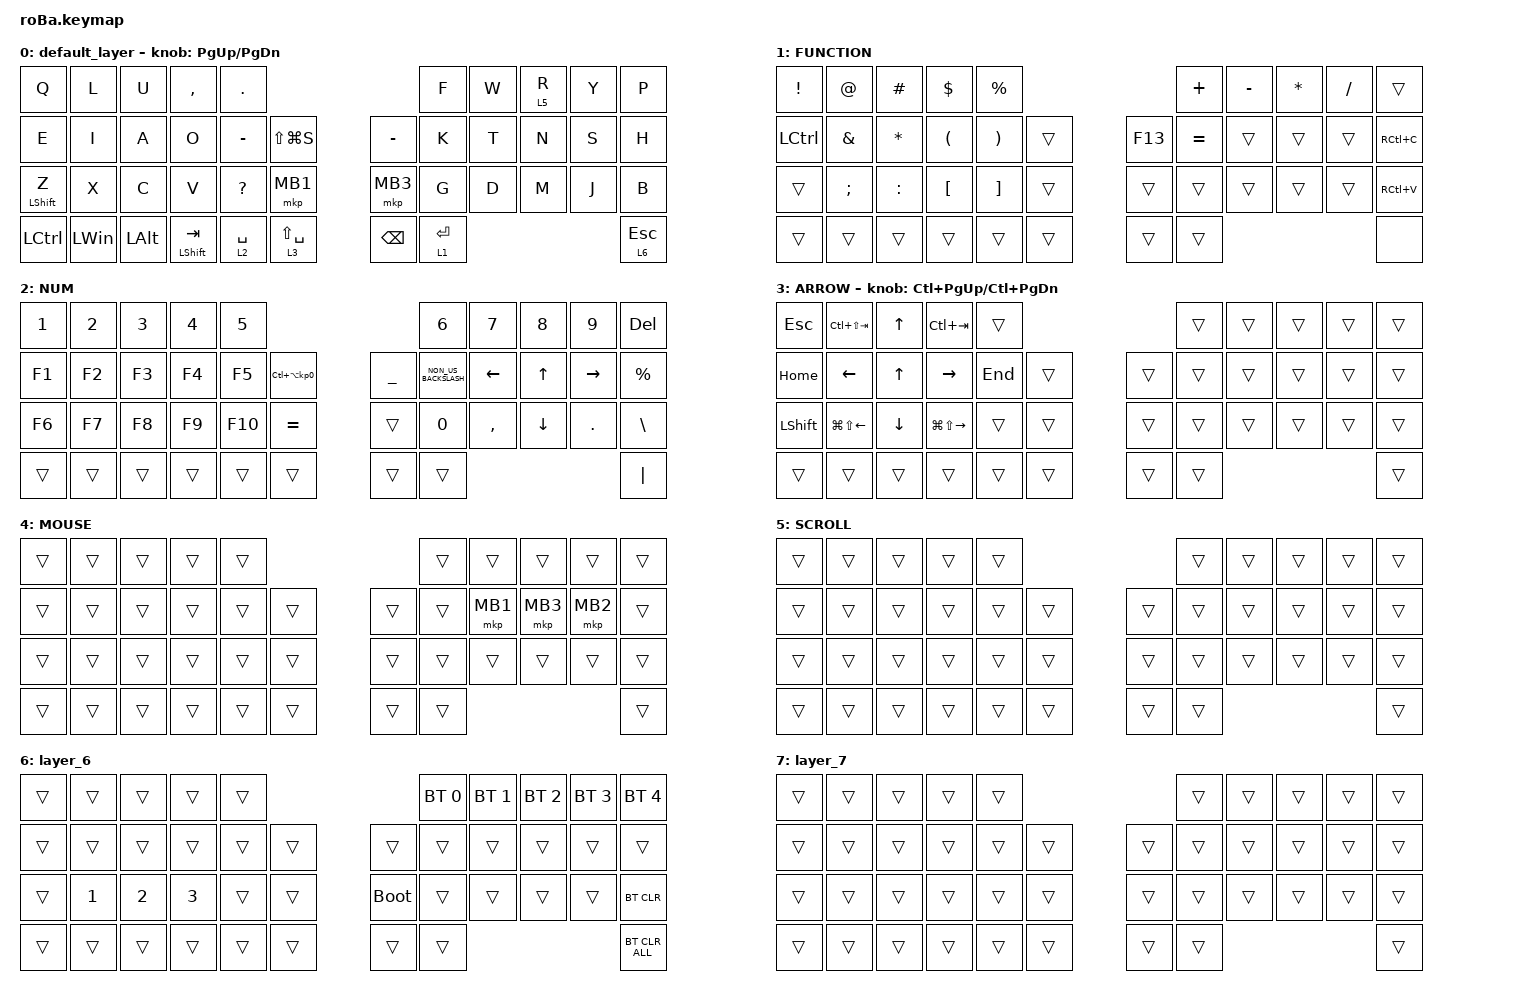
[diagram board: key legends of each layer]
#include <behaviors.dtsi>
#include <dt-bindings/zmk/bt.h>
#include <dt-bindings/zmk/keys.h>
#include <dt-bindings/zmk/pointing.h>

&mt {
    flavor = "balanced";
    quick-tap-ms = <0>;
};

&trackball {
    automouse-layer = <4>;
    scroll-layers = <5>;

    // arrows {
    //     layers = <3>;
    //     bindings =
    //         <&kp RIGHT_ARROW>,
    //         <&kp LEFT_ARROW>,
    //         <&kp UP_ARROW>,
    //         <&kp DOWN_ARROW>;
    //     tick = <10>;
    //     wait-ms = <5>;
    //     tap-ms = <5>;
    // };
};

/ {
    combos {
        compatible = "zmk,combos";

        tab {
            bindings = <&kp TAB>;
            key-positions = <11 12>;
        };

        shift_tab {
            bindings = <&kp LS(TAB)>;
            key-positions = <12 13>;
        };

        muhennkann {
            bindings = <&to_layer_0 INT_MUHENKAN>;
            key-positions = <11 10>;
        };

        double_quotation {
            bindings = <&kp DOUBLE_QUOTES>;
            key-positions = <20 21>;
        };

        eq {
            bindings = <&kp EQUAL>;
            key-positions = <24 25>;
        };
    };

    macros {
        to_layer_0: to_layer_0 {
            compatible = "zmk,behavior-macro-one-param";
            #binding-cells = <1>;
            bindings = <&to 0 &macro_param_1to1 &kp MACRO_PLACEHOLDER>;
            label = "TO_LAYER_0";
        };
    };

    behaviors {
        lt_to_layer_0: lt_to_layer_0 {
            compatible = "zmk,behavior-hold-tap";
            label = "LAYER_TAP_TO_0";
            bindings = <&mo>, <&to_layer_0>;

            #binding-cells = <2>;
            tapping-term-ms = <200>;
        };
    };

    keymap {
        compatible = "zmk,keymap";

        default_layer {
            bindings = <
&kp Q             &kp L         &kp U         &kp COMMA           &kp PERIOD                                                  &kp F        &kp W  &lt 5 R  &kp Y  &kp P
&kp E             &kp I         &kp A         &kp O               &kp MINUS    &kp LS(LG(S))                   &kp MINUS      &kp K        &kp T  &kp N    &kp S  &kp H
&mt LEFT_SHIFT Z  &kp X         &kp C         &kp V               &kp QMARK    &mkp MB1                        &mkp MB3       &kp G        &kp D  &kp M    &kp J  &kp B
&kp LCTRL         &kp LEFT_WIN  &kp LEFT_ALT  &mt LEFT_SHIFT TAB  &lt 2 SPACE  &lt_to_layer_0 3 LS(SPACE)      &kp BACKSPACE  &lt 1 ENTER                         &lt_to_layer_0 6 ESCAPE
            >;

            sensor-bindings = <&inc_dec_kp PG_UP PAGE_DOWN>;
        };

        FUNCTION {
            bindings = <
&kp EXCLAMATION  &kp AT_SIGN    &kp HASH      &kp DOLLAR            &kp PERCENT                                 &kp PLUS   &kp MINUS  &kp ASTERISK  &kp SLASH  &trans
&kp LCTRL        &kp AMPERSAND  &kp ASTERISK  &kp LEFT_PARENTHESIS  &kp RIGHT_PARENTHESIS  &trans      &kp F13  &kp EQUAL  &trans     &trans        &trans     &kp RC(C)
&trans           &kp SEMICOLON  &kp COLON     &kp LEFT_BRACKET      &kp RIGHT_BRACKET      &trans      &trans   &trans     &trans     &trans        &trans     &kp RC(V)
&trans           &trans         &trans        &trans                &trans                 &trans      &trans   &trans                                         &none
            >;
        };

        NUM {
            bindings = <
&kp NUMBER_1  &kp N2  &kp NUMBER_3  &kp NUMBER_4  &kp NUMBER_5                                               &kp NUMBER_6          &kp NUMBER_7    &kp NUMBER_8    &kp NUMBER_9     &kp DEL
&kp F1        &kp F2  &kp F3        &kp F4        &kp F5        &kp LC(LA(KP_NUMBER_0))      &kp UNDERSCORE  &kp NON_US_BACKSLASH  &kp LEFT_ARROW  &kp UP_ARROW    &kp RIGHT_ARROW  &kp PERCENT
&kp F6        &kp F7  &kp F8        &kp F9        &kp F10       &kp EQUAL                    &trans          &kp NUMBER_0          &kp COMMA       &kp DOWN_ARROW  &kp PERIOD       &kp BACKSLASH
&trans        &trans  &trans        &trans        &trans        &trans                       &trans          &trans                                                                 &kp PIPE
            >;
        };

        ARROW {
            bindings = <
&kp ESCAPE      &kp LC(LS(TAB))         &kp UP_ARROW    &kp LC(TAB)              &trans                       &trans  &trans  &trans  &trans  &trans
&kp HOME        &kp LEFT_ARROW          &kp UP_ARROW    &kp RIGHT_ARROW          &kp END  &trans      &trans  &trans  &trans  &trans  &trans  &trans
&kp LEFT_SHIFT  &kp LG(LS(LEFT_ARROW))  &kp DOWN_ARROW  &kp LG(LS(RIGHT_ARROW))  &trans   &trans      &trans  &trans  &trans  &trans  &trans  &trans
&trans          &trans                  &trans          &trans                   &trans   &trans      &trans  &trans                          &trans
            >;

            sensor-bindings = <&inc_dec_kp LC(PAGE_UP) LC(PAGE_DOWN)>;
        };

        MOUSE {
            bindings = <
&trans  &trans  &trans  &trans  &trans                      &trans  &trans    &trans    &trans    &trans
&trans  &trans  &trans  &trans  &trans  &trans      &trans  &trans  &mkp MB1  &mkp MB3  &mkp MB2  &trans
&trans  &trans  &trans  &trans  &trans  &trans      &trans  &trans  &trans    &trans    &trans    &trans
&trans  &trans  &trans  &trans  &trans  &trans      &trans  &trans                                &trans
            >;
        };

        SCROLL {
            bindings = <
&trans  &trans  &trans  &trans  &trans                      &trans  &trans  &trans  &trans  &trans
&trans  &trans  &trans  &trans  &trans  &trans      &trans  &trans  &trans  &trans  &trans  &trans
&trans  &trans  &trans  &trans  &trans  &trans      &trans  &trans  &trans  &trans  &trans  &trans
&trans  &trans  &trans  &trans  &trans  &trans      &trans  &trans                          &trans
            >;
        };

        layer_6 {
            bindings = <
&trans  &trans        &trans        &trans        &trans                           &bt BT_SEL 0  &bt BT_SEL 1  &bt BT_SEL 2  &bt BT_SEL 3  &bt BT_SEL 4
&trans  &trans        &trans        &trans        &trans  &trans      &trans       &trans        &trans        &trans        &trans        &trans
&trans  &kp NUMBER_1  &kp NUMBER_2  &kp NUMBER_3  &trans  &trans      &bootloader  &trans        &trans        &trans        &trans        &bt BT_CLR
&trans  &trans        &trans        &trans        &trans  &trans      &trans       &trans                                                  &bt BT_CLR_ALL
            >;
        };

        layer_7 {
            bindings = <
&trans  &trans  &trans  &trans  &trans                      &trans  &trans  &trans  &trans  &trans
&trans  &trans  &trans  &trans  &trans  &trans      &trans  &trans  &trans  &trans  &trans  &trans
&trans  &trans  &trans  &trans  &trans  &trans      &trans  &trans  &trans  &trans  &trans  &trans
&trans  &trans  &trans  &trans  &trans  &trans      &trans  &trans                          &trans
            >;
        };
    };
};
